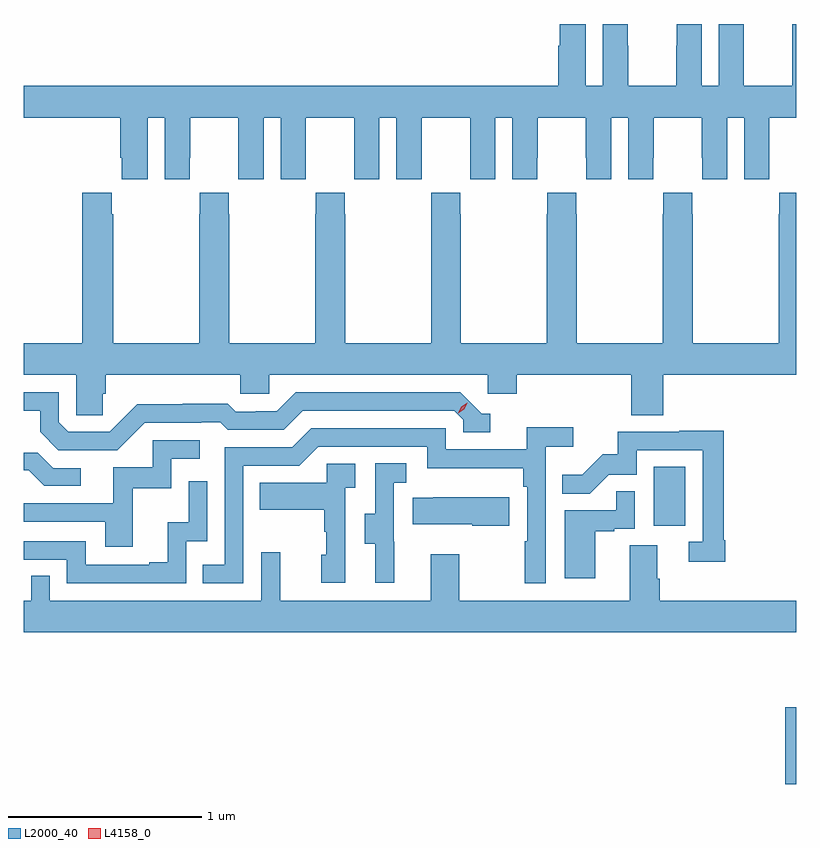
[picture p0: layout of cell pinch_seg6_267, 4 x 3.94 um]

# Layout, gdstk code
import gdstk
lib = gdstk.Library(unit=1e-6, precision=1e-09)
def R(c, l, rs):  # rectangles x0, y0, x1, y1
    for r in rs: c.add(gdstk.rectangle(r[:2], r[2:], *l))
def P(c, l, *ps):  # polygons
    for p in ps: c.add(gdstk.Polygon(p, *l))
L2000_40 = (2000, 40)
L4158_0 = (4158, 0)

pinch_seg6_267 = lib.new_cell('pinch_seg6_267')
R(pinch_seg6_267, L2000_40, [(792.749,986.51,792.806,986.908), (792.068,987.846,792.232,988.153)])
P(pinch_seg6_267, L2000_40, [(792.404,990.445),(792.404,990.124),(792.316,990.124),(792.316,990.445),(792.186,990.445),(792.186,990.332),(792.185,990.332),(792.185,990.124),(791.935,990.124),(791.935,990.332),(791.934,990.332),(791.934,990.445),(791.804,990.445),(791.804,990.124),(791.716,990.124),(791.716,990.445),(791.582,990.445),(791.582,990.332),(791.573,990.332),(791.573,990.124),(788.806,990.124),(788.806,989.96),(789.305,989.96),(789.305,989.752),(789.314,989.752),(789.314,989.64),(789.448,989.64),(789.448,989.96),(789.536,989.96),(789.536,989.64),(789.666,989.64),(789.666,989.752),(789.667,989.752),(789.667,989.96),(789.917,989.96),(789.917,989.752),(789.918,989.752),(789.918,989.64),(790.048,989.64),(790.048,989.96),(790.136,989.96),(790.136,989.64),(790.266,989.64),(790.266,989.752),(790.267,989.752),(790.267,989.96),(790.517,989.96),(790.517,989.752),(790.518,989.752),(790.518,989.64),(790.648,989.64),(790.648,989.96),(790.736,989.96),(790.736,989.64),(790.866,989.64),(790.866,989.752),(790.867,989.752),(790.867,989.96),(791.117,989.96),(791.117,989.752),(791.118,989.752),(791.118,989.64),(791.248,989.64),(791.248,989.96),(791.336,989.96),(791.336,989.64),(791.466,989.64),(791.466,989.752),(791.467,989.752),(791.467,989.96),(791.717,989.96),(791.717,989.752),(791.718,989.752),(791.718,989.64),(791.848,989.64),(791.848,989.96),(791.936,989.96),(791.936,989.64),(792.066,989.64),(792.066,989.752),(792.067,989.752),(792.067,989.96),(792.317,989.96),(792.317,989.752),(792.318,989.752),(792.318,989.64),(792.448,989.64),(792.448,989.96),(792.536,989.96),(792.536,989.64),(792.666,989.64),(792.666,989.752),(792.667,989.752),(792.667,989.96),(792.806,989.96),(792.806,990.445),(792.786,990.445),(792.786,990.332),(792.785,990.332),(792.785,990.124),(792.535,990.124),(792.535,990.332),(792.534,990.332),(792.534,990.445)],
  [(789.215,988.53),(789.23,988.53),(789.23,988.628),(789.927,988.628),(789.927,988.53),(790.077,988.53),(790.077,988.628),(791.208,988.628),(791.208,988.53),(791.36,988.53),(791.36,988.628),(791.951,988.628),(791.951,988.42),(792.116,988.42),(792.116,988.628),(792.806,988.628),(792.806,989.572),(792.717,989.572),(792.717,989.459),(792.715,989.459),(792.715,988.792),(792.27,988.792),(792.27,989.459),(792.267,989.459),(792.267,989.572),(792.117,989.572),(792.117,989.459),(792.115,989.459),(792.115,988.792),(791.67,988.792),(791.67,989.459),(791.667,989.459),(791.667,989.572),(791.517,989.572),(791.517,989.459),(791.515,989.459),(791.515,988.792),(791.07,988.792),(791.07,989.459),(791.067,989.459),(791.067,989.572),(790.917,989.572),(790.917,989.459),(790.915,989.459),(790.915,988.792),(790.47,988.792),(790.47,989.459),(790.467,989.459),(790.467,989.572),(790.317,989.572),(790.317,989.459),(790.315,989.459),(790.315,988.792),(789.87,988.792),(789.87,989.459),(789.867,989.459),(789.867,989.572),(789.717,989.572),(789.717,989.459),(789.715,989.459),(789.715,988.792),(789.27,988.792),(789.27,989.459),(789.263,989.459),(789.263,989.572),(789.11,989.572),(789.11,988.792),(788.806,988.792),(788.806,988.628),(789.078,988.628),(789.078,988.42),(789.215,988.42)],
  [(789.432,988.38),(789.725,988.38),(789.725,988.383),(789.824,988.383),(789.863,988.344),(790.152,988.344),(790.251,988.443),(791.034,988.443),(791.082,988.395),(791.082,988.332),(791.221,988.332),(791.221,988.428),(791.178,988.428),(791.067,988.539),(790.214,988.539),(790.115,988.44),(790.008,988.44),(790.008,988.437),(789.905,988.437),(789.863,988.48),(789.63,988.48),(789.63,988.477),(789.394,988.477),(789.252,988.335),(789.036,988.335),(788.988,988.383),(788.988,988.539),(788.806,988.539),(788.806,988.443),(788.891,988.443),(788.891,988.333),(788.985,988.239),(789.291,988.239)],
  [(789.942,988.158),(790.233,988.158),(790.332,988.257),(790.896,988.257),(790.896,988.145),(791.392,988.145),(791.392,988.049),(791.412,988.049),(791.412,987.767),(791.4,987.767),(791.4,987.549),(791.508,987.549),(791.508,988.256),(791.65,988.256),(791.65,988.358),(791.411,988.358),(791.411,988.242),(790.992,988.242),(790.992,988.353),(790.295,988.353),(790.196,988.254),(789.846,988.254),(789.846,987.645),(789.733,987.645),(789.733,987.549),(789.942,987.549)],
  [(792.437,987.772),(792.43,987.772),(792.43,988.34),(792.199,988.34),(792.199,988.335),(791.881,988.335),(791.881,988.218),(791.804,988.218),(791.697,988.111),(791.593,988.111),(791.593,988.012),(791.737,988.012),(791.835,988.11),(791.979,988.11),(791.979,988.239),(792.321,988.239),(792.321,987.765),(792.249,987.765),(792.249,987.66),(792.437,987.66)],
  [(789.371,988.041),(789.57,988.041),(789.57,988.194),(789.718,988.194),(789.718,988.29),(789.474,988.29),(789.474,988.149),(789.269,988.149),(789.269,987.963),(788.806,987.963),(788.806,987.867),(789.227,987.867),(789.227,987.738),(789.371,987.738)],
  [(789.1,988.146),(788.958,988.146),(788.878,988.226),(788.806,988.226),(788.806,988.134),(788.831,988.134),(788.912,988.053),(789.1,988.053)],
  [(790.724,987.765),(790.722,987.765),(790.722,988.069),(790.786,988.069),(790.786,988.172),(790.626,988.172),(790.626,987.909),(790.571,987.909),(790.571,987.754),(790.625,987.754),(790.625,987.552),(790.724,987.552)],
  [(790.47,988.043),(790.522,988.043),(790.522,988.167),(790.374,988.167),(790.374,988.069),(790.027,988.069),(790.027,987.929),(790.362,987.929),(790.362,987.815),(790.372,987.815),(790.372,987.696),(790.346,987.696),(790.346,987.552),(790.47,987.552)],
  [(789.648,987.768),(789.756,987.768),(789.756,988.078),(789.66,988.078),(789.66,987.866),(789.551,987.866),(789.551,987.658),(789.455,987.658),(789.455,987.645),(789.126,987.645),(789.126,987.768),(788.806,987.768),(788.806,987.672),(789.03,987.672),(789.03,987.549),(789.648,987.549)],
  [(791.764,987.819),(791.864,987.819),(791.864,987.831),(791.97,987.831),(791.97,988.025),(791.875,988.025),(791.875,987.927),(791.606,987.927),(791.606,987.576),(791.764,987.576)],
  [(791.32,987.994),(790.927,987.994),(790.927,987.991),(790.819,987.991),(790.819,987.854),(791.129,987.854),(791.129,987.847),(791.32,987.847)],
  [(792.806,987.46),(792.098,987.46),(792.098,987.572),(792.085,987.572),(792.085,987.746),(791.945,987.746),(791.945,987.46),(791.061,987.46),(791.061,987.7),(790.913,987.7),(790.913,987.46),(790.133,987.46),(790.133,987.709),(790.035,987.709),(790.035,987.46),(788.94,987.46),(788.94,987.587),(788.844,987.587),(788.844,987.46),(788.806,987.46),(788.806,987.296),(792.806,987.296)])
P(pinch_seg6_267, L4158_0, [(791.057,988.43),(791.057,988.43),(791.072,988.463),(791.102,988.483),(791.103,988.483),(791.103,988.483),(791.087,988.45),(791.057,988.43)])

lib.write_gds('pinch_seg6_267.gds')
